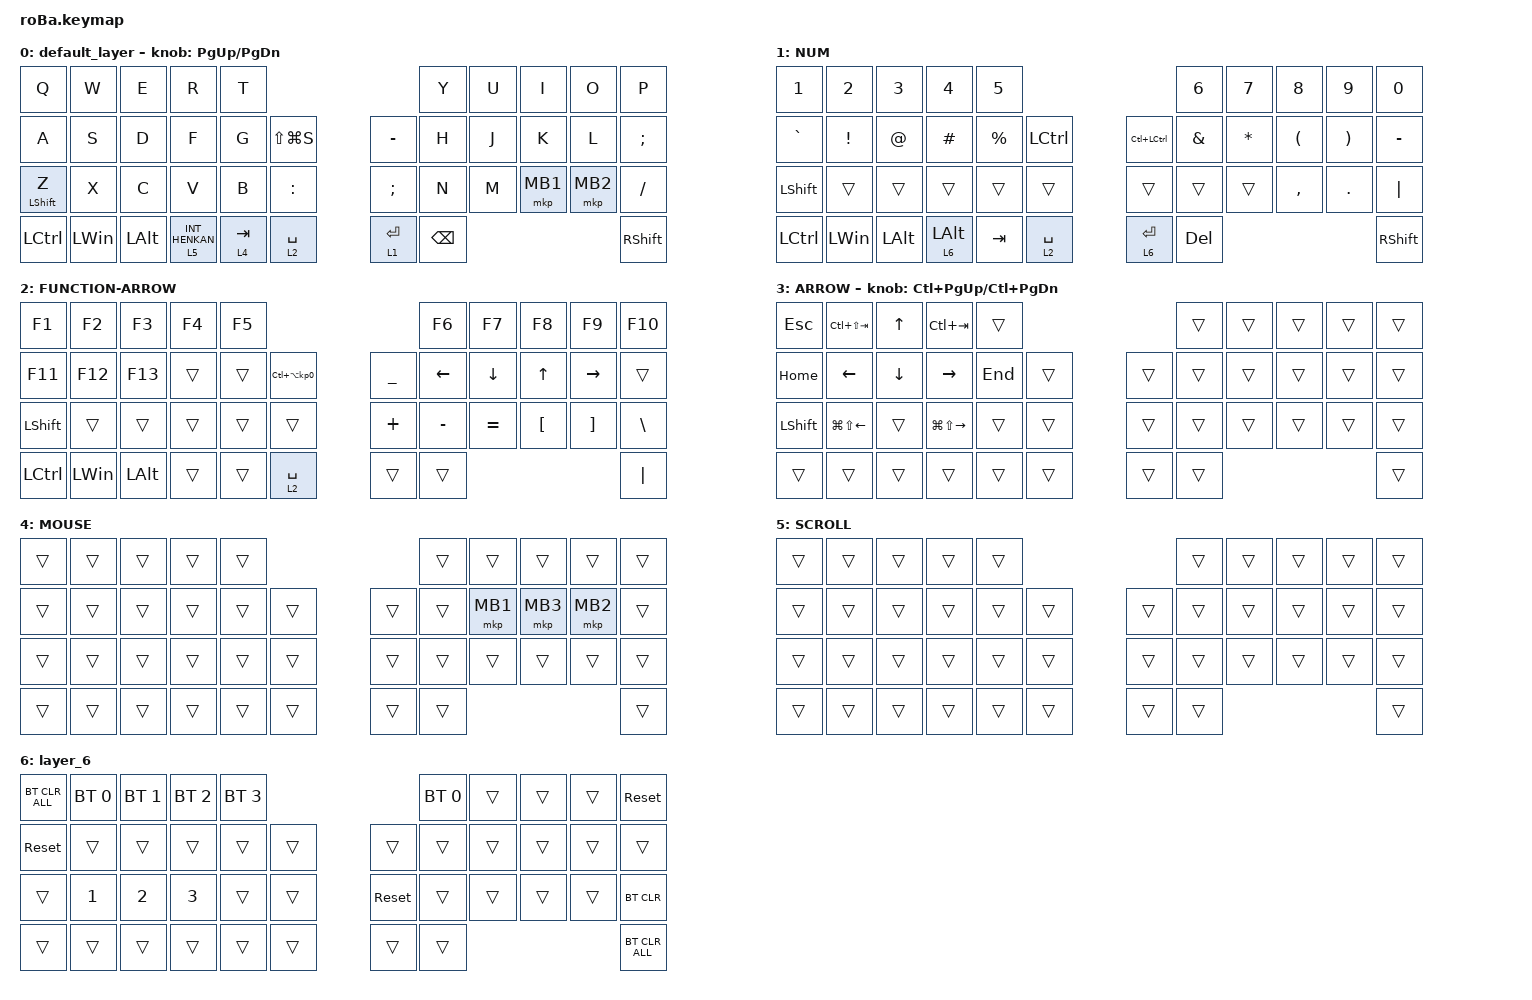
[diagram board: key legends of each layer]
#include <behaviors.dtsi>
#include <dt-bindings/zmk/bt.h>
#include <dt-bindings/zmk/keys.h>
#include <dt-bindings/zmk/pointing.h>

&mt {
    flavor = "balanced";
    quick-tap-ms = <0>;
};

&trackball {
    automouse-layer = <4>;
    scroll-layers = <5>;

    // arrows {
    //     layers = <3>;
    //     bindings =
    //         <&kp RIGHT_ARROW>,
    //         <&kp LEFT_ARROW>,
    //         <&kp UP_ARROW>,
    //         <&kp DOWN_ARROW>;
    //     tick = <10>;
    //     wait-ms = <5>;
    //     tap-ms = <5>;
    // };
};

/ {
    combos {
        compatible = "zmk,combos";

        tab {
            bindings = <&kp TAB>;
            key-positions = <11 12>;
        };

        shift_tab {
            bindings = <&kp LS(TAB)>;
            key-positions = <12 13>;
        };

        muhennkann {
            bindings = <&to_layer_0 INT_MUHENKAN>;
            key-positions = <11 10>;
        };

        double_quotation {
            bindings = <&kp DOUBLE_QUOTES>;
            key-positions = <20 21>;
        };

        eq {
            bindings = <&kp EQUAL>;
            key-positions = <24 25>;
        };
    };

    macros {
        to_layer_0: to_layer_0 {
            compatible = "zmk,behavior-macro-one-param";
            #binding-cells = <1>;
            bindings = <&to 0 &macro_param_1to1 &kp MACRO_PLACEHOLDER>;
            label = "TO_LAYER_0";
        };
    };

    behaviors {
        lt_to_layer_0: lt_to_layer_0 {
            compatible = "zmk,behavior-hold-tap";
            label = "LAYER_TAP_TO_0";
            bindings = <&mo>, <&to_layer_0>;

            #binding-cells = <2>;
            tapping-term-ms = <200>;
        };
    };

    keymap {
        compatible = "zmk,keymap";

        default_layer {
            bindings = <
&kp Q             &kp W         &kp E         &kp R                        &kp T                                                 &kp Y          &kp U  &kp I     &kp O     &kp P
&kp A             &kp S         &kp D         &kp F                        &kp G      &kp LS(LG(S))               &kp MINUS      &kp H          &kp J  &kp K     &kp L     &kp SEMICOLON
&mt LEFT_SHIFT Z  &kp X         &kp C         &kp V                        &kp B      &kp COLON                   &kp SEMICOLON  &kp N          &kp M  &mkp MB1  &mkp MB2  &kp SLASH
&kp LCTRL         &kp LEFT_WIN  &kp LEFT_ALT  &lt_to_layer_0 5 INT_HENKAN  &lt 4 TAB  &lt_to_layer_0 2 SPACE      &lt 1 ENTER    &kp BACKSPACE                             &kp RIGHT_SHIFT
            >;

            sensor-bindings = <&inc_dec_kp PG_UP PAGE_DOWN>;
        };

        NUM {
            bindings = <
&kp NUMBER_1    &kp NUMBER_2     &kp NUMBER_3  &kp NUMBER_4    &kp N5                                       &kp NUMBER_6   &kp N7        &kp N8                &kp N9                 &kp N0
&kp GRAVE       &kp EXCLAMATION  &kp AT_SIGN   &kp HASH        &kp PERCENT  &kp LCTRL        &kp LC(LCTRL)  &kp AMPERSAND  &kp ASTERISK  &kp LEFT_PARENTHESIS  &kp RIGHT_PARENTHESIS  &kp MINUS
&kp LEFT_SHIFT  &trans           &trans        &trans          &trans       &trans           &trans         &trans         &trans        &kp COMMA             &kp PERIOD             &kp PIPE
&kp LCTRL       &kp LEFT_WIN     &kp LEFT_ALT  &lt 6 LEFT_ALT  &kp TAB      &lt 2 SPACE      &lt 6 ENTER    &kp DELETE                                                                &kp RIGHT_SHIFT
            >;
        };

        FUNCTION-ARROW {
            bindings = <
&kp F1          &kp F2        &kp F3        &kp F4  &kp F5                                               &kp F6          &kp F7          &kp F8            &kp F9             &kp F10
&kp F11         &kp F12       &kp F13       &trans  &trans  &kp LC(LA(KP_NUMBER_0))      &kp UNDERSCORE  &kp LEFT_ARROW  &kp DOWN_ARROW  &kp UP_ARROW      &kp RIGHT_ARROW    &trans
&kp LEFT_SHIFT  &trans        &trans        &trans  &trans  &trans                       &kp PLUS        &kp MINUS       &kp EQUAL       &kp LEFT_BRACKET  &kp RIGHT_BRACKET  &kp BACKSLASH
&kp LCTRL       &kp LEFT_WIN  &kp LEFT_ALT  &trans  &trans  &lt 2 SPACE                  &trans          &trans                                                               &kp PIPE
            >;
        };

        ARROW {
            bindings = <
&kp ESCAPE      &kp LC(LS(TAB))         &kp UP_ARROW    &kp LC(TAB)              &trans                       &trans  &trans  &trans  &trans  &trans
&kp HOME        &kp LEFT_ARROW          &kp DOWN_ARROW  &kp RIGHT_ARROW          &kp END  &trans      &trans  &trans  &trans  &trans  &trans  &trans
&kp LEFT_SHIFT  &kp LG(LS(LEFT_ARROW))  &trans          &kp LG(LS(RIGHT_ARROW))  &trans   &trans      &trans  &trans  &trans  &trans  &trans  &trans
&trans          &trans                  &trans          &trans                   &trans   &trans      &trans  &trans                          &trans
            >;

            sensor-bindings = <&inc_dec_kp LC(PAGE_UP) LC(PAGE_DOWN)>;
        };

        MOUSE {
            bindings = <
&trans  &trans  &trans  &trans  &trans                      &trans  &trans    &trans    &trans    &trans
&trans  &trans  &trans  &trans  &trans  &trans      &trans  &trans  &mkp MB1  &mkp MB3  &mkp MB2  &trans
&trans  &trans  &trans  &trans  &trans  &trans      &trans  &trans  &trans    &trans    &trans    &trans
&trans  &trans  &trans  &trans  &trans  &trans      &trans  &trans                                &trans
            >;
        };

        SCROLL {
            bindings = <
&trans  &trans  &trans  &trans  &trans                      &trans  &trans  &trans  &trans  &trans
&trans  &trans  &trans  &trans  &trans  &trans      &trans  &trans  &trans  &trans  &trans  &trans
&trans  &trans  &trans  &trans  &trans  &trans      &trans  &trans  &trans  &trans  &trans  &trans
&trans  &trans  &trans  &trans  &trans  &trans      &trans  &trans                          &trans
            >;
        };

        layer_6 {
            bindings = <
&bt BT_CLR_ALL  &bt BT_SEL 0  &bt BT_SEL 1  &bt BT_SEL 2  &bt BT_SEL 3                          &bt BT_SEL 0  &trans  &trans  &trans  &sys_reset
&sys_reset      &trans        &trans        &trans        &trans        &trans      &trans      &trans        &trans  &trans  &trans  &trans
&trans          &kp NUMBER_1  &kp NUMBER_2  &kp NUMBER_3  &trans        &trans      &sys_reset  &trans        &trans  &trans  &trans  &bt BT_CLR
&trans          &trans        &trans        &trans        &trans        &trans      &trans      &trans                                &bt BT_CLR_ALL
            >;
        };
    };
};
